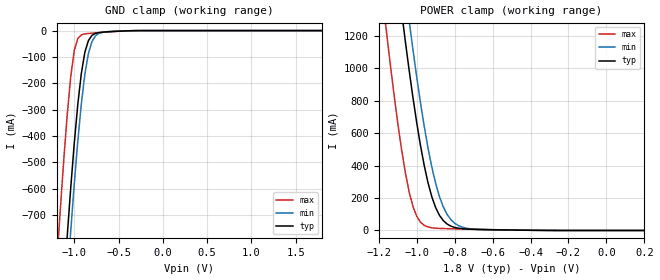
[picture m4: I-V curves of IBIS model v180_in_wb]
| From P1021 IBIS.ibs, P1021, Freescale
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|   Model v180_in_wb
[Model]   v180_in_wb
Model_type   Input
Polarity   Non-Inverting
Enable   Active-High
Vinl = 0.63V
Vinh = 1.17V
C_comp   3.0088pF   2.9071pF   3.0187pF
[Temperature Range]   85.0000   0.1250k   -40.0000
[Voltage Range]   1.8000V   1.6200V   1.9800V
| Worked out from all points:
|   GND clamp passes 1 mA (typ) near -0.40 V on its own axis
|   POWER clamp passes 1 mA (typ) near -0.37 V on its own axis
[GND_clamp]
|Voltage   I(typ)   I(min)   I(max)
-1.8V     -4.804A    -4.965A    -4.352A
-1.2V     -1.391A    -1.566A    -898mA
-1.16V    -1.182A    -1.356A    -692.5mA
-1.08V    -783mA     -952.3mA   -322.2mA
-1.04V    -598.3mA   -762.1mA   -175.8mA
-1V       -428.7mA   -583.2mA   -76.41mA
-920mV    -162.7mA   -278.3mA   -16.12mA
-880mV    -82.2mA    -165.4mA   -12.47mA
-840mV    -37.92mA   -87mA      -10.97mA
-800mV    -18.2mA    -41.64mA   -9.843mA
-720mV    -7.422mA   -10.26mA   -7.766mA
1.8V      9.036uA    41.65uA    11.05uA
[POWER_clamp]
|Voltage   I(typ)   I(min)   I(max)
-1.8V     9.621A     9.869A     8.815A
-1.16V    2.159A     2.491A     1.232A
-1.08V    1.354A     1.674A     501.9mA
-1.06V    1.168A     1.482A     358.5mA
-1.04V    989.9mA    1.296A     239.6mA
-1V       666mA      947mA      88.04mA
-960mV    399.2mA    640.1mA    31.27mA
-920mV    207mA      389.6mA    16.4mA
-880mV    93.61mA    209mA      12.71mA
-840mV    40.16mA    99.64mA    11.19mA
-780mV    13.9mA     30.06mA    9.524mA
200mV     0A         0A         0A
